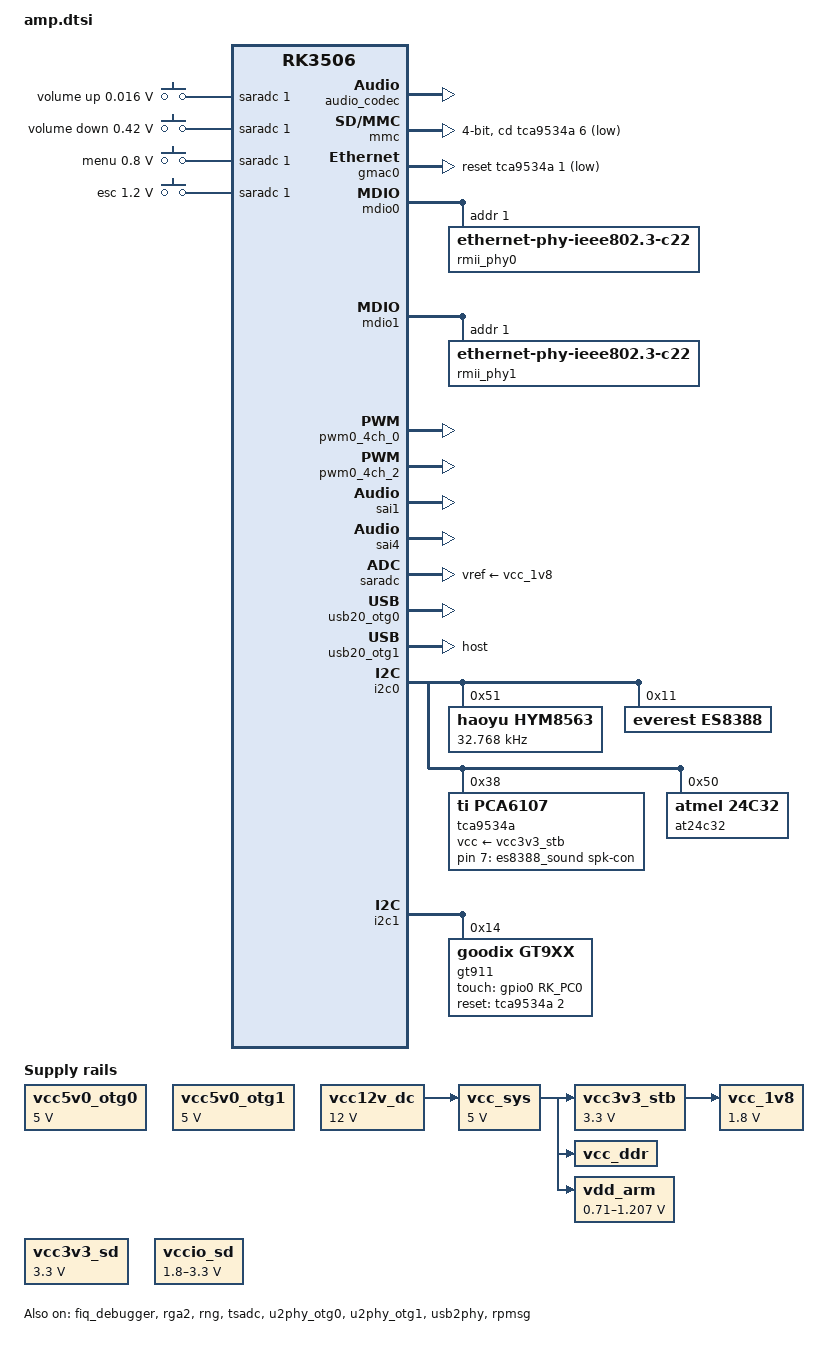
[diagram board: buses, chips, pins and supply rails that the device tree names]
#include "rk3506-pinctrl.dtsi"
#include "rk3506-pinctrl-rmio.dtsi"

/ {
    cpus {
        // /delete-node/ cpu@f00;
        // /delete-node/ cpu@f01;
        /delete-node/ cpu@f02;
    };

    cpus-amp {
        #address-cells = <1>;
        #size-cells = <0>;

        cpu@f00 {
            device_type = "cpu";
            compatible = "arm,cortex-a7";
            reg = <0xf00>;
            enable-method = "psci";
            clocks = <&cru ARMCLK>;
            operating-points-v2 = <&cpu0_opp_table>;
        };

        cpu@f01 {
            device_type = "cpu";
            compatible = "arm,cortex-a7";
            reg = <0xf01>;
            enable-method = "psci";
            clocks = <&cru ARMCLK>;
            operating-points-v2 = <&cpu0_opp_table>;
        };

        cpu2: cpu@f02 {
            device_type = "cpu";
            compatible = "arm,cortex-a7";
            reg = <0xf02>;
            enable-method = "psci";
            clocks = <&cru ARMCLK>;
            operating-points-v2 = <&cpu0_opp_table>;
        };
    };
    rtt_rpmsg: rtt-rpmsg@3a00000 {
        compatible = "rockchip,rpmsg";
        reg = <0x3a00000 0x0200000>;
        mbox-names = "rpmsg-rx", "rpmsg-tx";
        mboxes = <&mailbox2_amp 0 &mailbox0_amp 0>;
        rockchip,vdev-nums = <1>;
        /* CPU2: link-id 0x02; */
        rockchip,link-id = <0x02>;
        timeout-ms = <5000>;
        status = "okay,rtt";
        rockchip,rpmsg-remote;
    };
    amp: amp@0 {
        compatible = "rockchip,amp";
        reg = <0x0 0x0 0x0 0x0>;
        status = "okay,rtt";
    };
    chosen-amp {
        bootargs = "earlycon=uart8250,mmio32,0xff0d0000 console=ttyFIQ0 ubi.mtd=5 root=ubi0:rootfs rw rootfstype=ubifs rootwait snd_aloop.index=7 snd_aloop.use_raw_jiffies=1";
        status = "okay,rtt";
    };

    fiq-debugger-amp {
        compatible = "rockchip,fiq-debugger";
        rockchip,serial-id = <3>;
        rockchip,wake-irq = <0>;
        rockchip,irq-mode-enable = <1>;
        rockchip,baudrate = <115200>;	/* Only 115200 and 1500000 */
        status = "okay,rtt";
        pinctrl = <&gpio0_a4 &gpio0_a5>;
    };

    mailbox0_amp: mailbox-amp@ff290000 {
        compatible = "rockchip,rk3506-mailbox", "rockchip,rk3576-mailbox";
        reg = <0xff290000 0x20>;
        interrupts =<GIC_SPI 142 IRQ_TYPE_LEVEL_HIGH>;
        interrupt-affinity = <&cpu2>;
        clocks = <&cru PCLK_MAILBOX>;
        clock-names = "pclk_mailbox";
        #mbox-cells = <1>;
        status = "okay,rtt";
        rtthread,tx-direction-b2a; //rpmsg-tx
    };

    mailbox2_amp: mailbox-amp@ff292000 {
        compatible = "rockchip,rk3506-mailbox", "rockchip,rk3576-mailbox";
        reg = <0xff292000 0x20>;
        interrupts = <GIC_SPI 144 IRQ_TYPE_LEVEL_HIGH>;
        interrupt-affinity = <&cpu2>;
        clocks = <&cru PCLK_MAILBOX>;
        clock-names = "pclk_mailbox";
        #mbox-cells = <1>;
        status = "okay,rtt";
        rtthread,tx-direction-b2a; //rpmsg-tx
    };
    rockchip_amp: rockchip-amp {
        compatible = "rockchip,amp";
        clocks = <&cru HCLK_M0>, <&cru STCLK_M0>,
            <&cru SCLK_UART1>, <&cru PCLK_UART1>,
            <&cru SCLK_UART3>, <&cru PCLK_UART3>,
            <&cru CLK_USER_OTPC_NS>, <&cru CLK_SBPI_OTPC_NS>,
            <&cru PCLK_OTPC_NS>,
            <&cru PCLK_TIMER>, <&cru CLK_TIMER0_CH0>,
            <&cru CLK_TIMER0_CH1>, <&cru CLK_TIMER0_CH2>,
            <&cru CLK_TIMER0_CH3>, <&cru CLK_TIMER0_CH4>,
            <&cru CLK_TIMER0_CH5>,
            <&cru PCLK_GPIO1>, <&cru DBCLK_GPIO1>,
            <&cru CLK_MAC1>, <&cru CLK_MAC1_PTP>,
            <&cru PCLK_MAC1>, <&cru ACLK_MAC1>;
        status = "okay";
    };

    rpmsg: rpmsg@3a00000 {
        compatible = "rockchip,rpmsg";
        mbox-names = "rpmsg-rx", "rpmsg-tx";
        mboxes = <&mailbox0 0 &mailbox2 0>;
        rockchip,vdev-nums = <1>;
        /* CPU2: link-id 0x02; */
        rockchip,link-id = <0x02>;
        reg = <0x3a00000 0x20000>;
        memory-region = <&rpmsg_dma_reserved>;
        status = "okay";
    };
        vcc5v0_otg0: vcc5v0-otg0-regulator {
        compatible = "regulator-fixed";
        regulator-name = "vcc5v0_otg0";
        regulator-min-microvolt = <5000000>;
        regulator-max-microvolt = <5000000>;
        enable-active-high;
    };

    vcc5v0_otg1: vcc5v0-otg1-regulator {
        compatible = "regulator-fixed";
        regulator-name = "vcc5v0_otg1";
        regulator-boot-on;
        regulator-always-on;
        regulator-min-microvolt = <5000000>;
        regulator-max-microvolt = <5000000>;
        enable-active-high;
    };

    acodec_sound: acodec-sound {
        status = "okay";
        compatible = "simple-audio-card";
        simple-audio-card,name = "rockchip,acodec";
        simple-audio-card,format = "i2s";
        simple-audio-card,mclk-fs = <1024>;
        simple-audio-card,bitclock-master = <&codec_master>;
        simple-audio-card,frame-master = <&codec_master>;
        simple-audio-card,cpu {
            sound-dai = <&sai4>;
        };
        codec_master: simple-audio-card,codec {
            sound-dai = <&audio_codec>;
        };
    };

    adc_keys: adc-keys {
        compatible = "adc-keys";
        io-channels = <&saradc 1>;
        io-channel-names = "buttons";
        keyup-threshold-microvolt = <1800000>;
        poll-interval = <100>;

        vol-up-key {
            label = "volume up";
            linux,code = <KEY_VOLUMEUP>;
            press-threshold-microvolt = <16000>;
        };

        vol-down-key {
            label = "volume down";
            linux,code = <KEY_VOLUMEDOWN>;
            press-threshold-microvolt = <420000>;
        };

        menu-key {
            label = "menu";
            linux,code = <KEY_MENU>;
            press-threshold-microvolt = <800000>;
        };

        esc-key {
            label = "esc";
            linux,code = <KEY_ESC>;
            press-threshold-microvolt = <1200000>;
        };
    };

    dsm_sound: dsm-sound {
        status = "disabled";
        compatible = "simple-audio-card";
        simple-audio-card,format = "i2s";
        simple-audio-card,mclk-fs = <256>;
        simple-audio-card,name = "rockchip,dsm-sound";
        simple-audio-card,bitclock-master = <&sndcodec>;
        simple-audio-card,frame-master = <&sndcodec>;
        sndcpu: simple-audio-card,cpu {
            sound-dai = <&sai3>;
        };
        sndcodec: simple-audio-card,codec {
            sound-dai = <&acdcdig_dsm>;
        };
    };

    es8388_sound: es8388-sound {
        status = "okay";
        compatible = "rockchip,multicodecs-card";
        rockchip,card-name = "rockchip-es8388";
        spk-con-gpio = <&tca9534a 7 GPIO_ACTIVE_HIGH>;
        rockchip,pre-power-on-delay-ms = <30>;
        rockchip,post-power-down-delay-ms = <40>;
        rockchip,format = "i2s";
        rockchip,mclk-fs = <256>;
        rockchip,cpu = <&sai1>;
        rockchip,codec = <&es8388>;
        rockchip,audio-routing =
            "Headphone", "LOUT1",
            "Headphone", "ROUT1",
            "Speaker", "LOUT2",
            "Speaker", "ROUT2",
            "Headphone", "Headphone Power",
            "Headphone", "Headphone Power",
            "Speaker", "Speaker Power",
            "Speaker", "Speaker Power",
            "RINPUT1", "Main Mic",
            "RINPUT2", "Main Mic",
            "LINPUT1", "Headset Mic",
            "LINPUT2", "Headset Mic";
    };

    vcc12v_dc: vcc12v-dc {
        compatible = "regulator-fixed";
        regulator-name = "vcc12v_dc";
        regulator-always-on;
        regulator-boot-on;
        regulator-min-microvolt = <12000000>;
        regulator-max-microvolt = <12000000>;
    };

    vcc_sys: vcc-sys {
        compatible = "regulator-fixed";
        regulator-name = "vcc_sys";
        regulator-always-on;
        regulator-boot-on;
        regulator-min-microvolt = <5000000>;
        regulator-max-microvolt = <5000000>;
        vin-supply = <&vcc12v_dc>;
    };

    vcc3v3_stb: vcc3v3-stb {
        compatible = "regulator-fixed";
        regulator-name = "vcc3v3_stb";
        regulator-always-on;
        regulator-boot-on;
        regulator-min-microvolt = <3300000>;
        regulator-max-microvolt = <3300000>;
        vin-supply = <&vcc_sys>;
    };

    vcc3v3_sd: vcc3v3-sd {
        compatible = "regulator-fixed";
        regulator-name = "vcc3v3_sd";
        regulator-min-microvolt = <3300000>;
        regulator-max-microvolt = <3300000>;
    };

    vccio_sd: vccio-sd {
        compatible = "regulator-gpio";
        regulator-name = "vccio_sd";
        regulator-min-microvolt = <1800000>;
        regulator-max-microvolt = <3300000>;
        states = <3300000 1
                  1800000 0>;
    };

    vcc_1v8: vcc-1v8 {
        compatible = "regulator-fixed";
        regulator-name = "vcc_1v8";
        regulator-always-on;
        regulator-boot-on;
        regulator-min-microvolt = <1800000>;
        regulator-max-microvolt = <1800000>;
        vin-supply = <&vcc3v3_stb>;
    };

    vcc_ddr: vcc-ddr {
        compatible = "regulator-fixed";
        regulator-name = "vcc_ddr";
        regulator-always-on;
        regulator-boot-on;
        vin-supply = <&vcc_sys>;
    };

    vdd_arm: vdd-arm {
        compatible = "pwm-regulator";
        pwms = <&pwm0_4ch_0 0 5000 1>;
        regulator-name = "vdd_arm";
        regulator-min-microvolt = <710000>;
        regulator-max-microvolt = <1207000>;
        regulator-init-microvolt = <1011000>;
        regulator-always-on;
        regulator-boot-on;
        regulator-settling-time-up-us = <250>;
        pwm-supply = <&vcc_sys>;
    };

    sdio_pwrseq: sdio-pwrseq {
        compatible = "mmc-pwrseq-simple";
        pinctrl-names = "default";
    };
};

&fiq_debugger {
    status = "okay";
};

&uart3
{
    status = "disabled";
    interrupt-affinity = <&cpu2>;
};

&mailbox0 {
    rockchip,txpoll-period-ms = <1>;
    interrupts = <GIC_SPI 138 IRQ_TYPE_LEVEL_HIGH>;
    status = "okay";
};

&mailbox2 {
    rockchip,txpoll-period-ms = <1>;
    interrupts = <GIC_SPI 140 IRQ_TYPE_LEVEL_HIGH>;
    status = "okay";
};

&gic {
    rtt-skip-init;
};

&gpio {
    status = "okay,rtt";
};

&rktimer {
    status = "okay,rtt";
};

&audio_codec {
    status = "okay";
};

&cpu0 {
    cpu-supply = <&vdd_arm>;
};

&flexbus_fspi {
    pinctrl-names = "default";
    pinctrl-0 = <&flexbus0m1_pins &flexbus0_clk_pins
             &flexbus0_d0_pins &flexbus0_d1_pins
             &flexbus0_d2_pins &flexbus0_d3_pins>;
    status = "disabled";
    flash@0 {
        compatible = "jedec,spi-nor";
        reg = <0>;
        spi-max-frequency = <100000000>;
        spi-rx-bus-width = <4>;
        spi-tx-bus-width = <1>;
    };
};

&mmc {
    max-frequency = <150000000>;
    supports-sd;
    no-sdio;
    no-mmc;
    bus-width = <4>;
    cap-mmc-highspeed;
    cap-sd-highspeed;
    cd-gpios = <&tca9534a 6 GPIO_ACTIVE_LOW>;
    disable-wp;
    pinctrl-names = "default";
    pinctrl-0 = <&sdmmc_clk_pins &sdmmc_cmd_pins &sdmmc_bus4_pins>;
    status = "okay";
};

&gmac0 {
    clock_in_out = "input";
    snps,reset-gpio = <&tca9534a 1 GPIO_ACTIVE_LOW>;
    pinctrl-0 = <&eth_rmii0_miim_pins
                &eth_rmii0_tx_bus2_pins
                &eth_rmii0_rx_bus2_pins
                &eth_rmii0_clk_pins>;
    status = "okay";
};

&gmac1 {
    clock_in_out = "input";
    snps,reset-gpio = <&tca9534a 1 GPIO_ACTIVE_LOW>;
    pinctrl-0 = <&eth_rmii1_miim_pins
                &eth_rmii1_tx_bus2_pins
                &eth_rmii1_rx_bus2_pins
                &eth_rmii1_clk_pins>;
    interrupt-affinity = <&cpu2>, <&cpu2>;
    status = "okay,rtt";
};

&mdio0 {
    rmii_phy0: phy@1 {
        compatible = "ethernet-phy-ieee802.3-c22";
        reg = <0x01>;
    };
};
&mdio1 {
    rmii_phy1: phy@1 {
        compatible = "ethernet-phy-ieee802.3-c22";
        reg = <0x01>;
    };
};

&pwm0_4ch_0 {
    pinctrl-names = "active";
    pinctrl-0 = <&rm_io21_pwm0_ch0>;
    status = "okay";
};

&pwm0_4ch_2 {
    pinctrl-names = "active";
    pinctrl-0 = <&rm_io18_pwm0_ch2>;
    status = "okay";
};

&rga2 {
    status = "okay";
};

&rng {
    status = "okay";
};

&rockchip_suspend {
    rockchip,sleep-mode-config = <
        (0
        | RKPM_ARMOFF_DDRPD
        | RKPM_24M_OSC_DIS
        | RKPM_32K_CLK
        | RKPM_32K_SRC_RC
        | RKPM_PWM0_CH0_REGULATOR
        )
    >;

    rockchip,apios-suspend = <
        (0
        | RKPM_PWREN_CORE_GPIO0A2 | RKPM_PWREN_CORE_ACT_LOW
        | RKPM_PWREN_SLEEP_GPIO0A0 | RKPM_PWREN_SLEEP_ACT_LOW
        )
    >;
};

&sai1 {
    status = "okay";
    pinctrl-names = "default";
    pinctrl-0 = <&rm_io9_sai1_sclk
             &rm_io10_sai1_lrck
             &rm_io11_sai1_sdi
             &rm_io13_sai1_sdo0>;
};

&sai4 {
    status = "okay";
};

&saradc {
    vref-supply = <&vcc_1v8>;
    status = "okay";
};

&tsadc {
    status = "okay";
};

&u2phy_otg0 {
    vbus-supply = <&vcc5v0_otg0>;
    status = "okay";
};

&u2phy_otg1 {
    phy-supply = <&vcc5v0_otg1>;
    status = "okay";
};

&usb2phy {
    status = "okay";
};

&usb20_otg0 {
    status = "okay";
};

&usb20_otg1 {
    dr_mode = "host";
    status = "okay";
};

&tca9534a_gpio{
    status = "disabled";
};

&i2c0 {
    status = "okay";
    pinctrl-names = "default";
    pinctrl-0 = <&rm_io14_i2c0_scl
             &rm_io15_i2c0_sda>;

    hym8563@51 {
        compatible = "haoyu,hym8563";
        reg = <0x51>;
        #clock-cells = <0>;
        clock-frequency = <32768>;
        clock-output-names = "hym8563";
        pinctrl-names = "default";
    };

    es8388: es8388@11 {
        #sound-dai-cells = <0>;
        compatible = "everest,es8388", "everest,es8323";
        reg = <0x11>;
        clocks = <&mclkout_sai1>;
        clock-names = "mclk";
        assigned-clocks = <&mclkout_sai1>;
        assigned-clock-rates = <12288000>;
        pinctrl-names = "default";
        pinctrl-0 = <&rm_io8_sai1_mclk>;
    };

    tca9534a: tca9534a@38 {
        compatible = "ti,pca6107";
        reg = <0x38>;
        gpio-controller;
        #gpio-cells = <2>;
        vcc-supply = <&vcc3v3_stb>;
    };

    at24c32: eeprom@50 {
        compatible = "atmel,24c32";
        reg = <0x50>;
        pagesize = <32>;
        size = <4096>;
        address-width = <16>;
    };
};

&i2c1 {
    status = "okay";
    pinctrl-names = "default";
    pinctrl-0 = <&rm_io0_i2c1_sda
            &rm_io1_i2c1_scl>;

    gt911@14 {
        compatible = "goodix,gt9xx";
        reg = <0x14>;
        pinctrl-0 = <&touch_gpio>;
        touch-gpio = <&gpio0 RK_PC0 IRQ_TYPE_LEVEL_LOW>;
        reset-gpio = <&tca9534a 2 GPIO_ACTIVE_HIGH>;
        max-x = <720>;
        max-y = <720>;
        tp-size = <9110>;
        status = "okay";
    };
};

&pinctrl {
    touch {
        touch_gpio: touch-gpio {
            rockchip,pins = <0 RK_PC0 RK_FUNC_GPIO &pcfg_pull_none>;
        };
    };
};

&rgb {
    status = "disabled";
};
&rgb_in_vop {
	status = "disabled";
};

&reserved_memory {
    /* rtt address */
    rtt_reserved: rtt@4000000 {
        reg = <0x04000000 0x08000000>;
        no-map;
    };
    /* remote amp core address */
    amp_shmem_reserved: amp-shmem@3b00000 {
        reg = <0x03b00000 0x100000>;
        no-map;
    };
    rpmsg_reserved: rpmsg@3a00000 {
        reg = <0x03a00000 0x100000>;
        no-map;
    };
    rpmsg_dma_reserved: rpmsg-dma@3b00000 {
        compatible = "shared-dma-pool";
        reg = <0x03b00000 0x100000>;
        no-map;
    };
};
